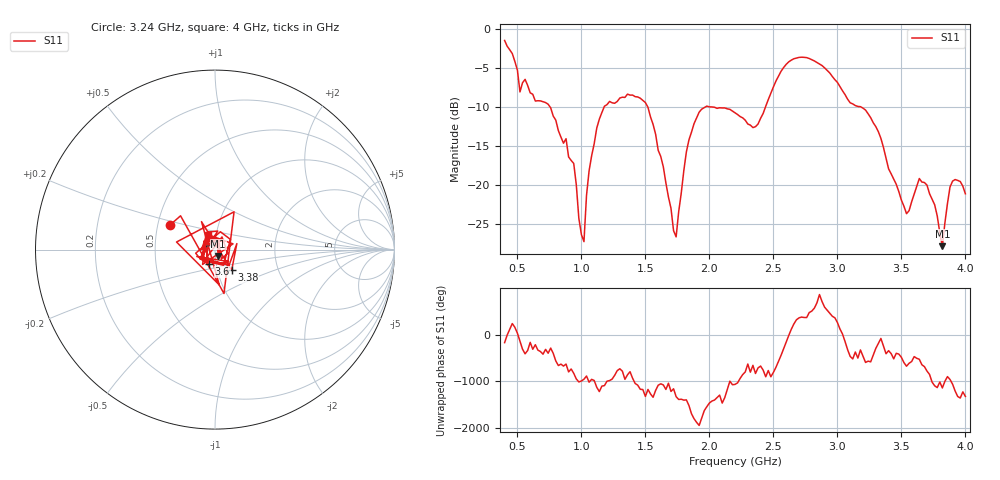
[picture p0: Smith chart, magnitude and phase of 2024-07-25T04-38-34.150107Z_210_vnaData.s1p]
!Created with skrf (http://scikit-rf.org).
# Hz S RI R 50.0
!freq ReS11 ImS11
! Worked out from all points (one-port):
!   181 points, 400 MHz to 4 GHz, reference 50 ohm
!   lowest |S11| = -27.9 dB at 3.82 GHz (marker M1), VSWR 1.08, Z = 51.7 - j3.72 ohm
!   |S11| at or under -10 dB: 1.517 GHz to 1.972 GHz (454.7 MHz wide, 26.1 % of centre); 1.996 GHz to 2.439 GHz (442.6 MHz wide, 20 % of centre); 3.181 GHz to end of sweep (the widest 3 of 4)
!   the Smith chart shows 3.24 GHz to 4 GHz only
!   S11 on the Smith chart (normalised r, x): 3.24 GHz: 0.58, +0.18; 3.38 GHz: 1.17, -0.27; 3.6 GHz: 0.92, -0.15; 4 GHz: 0.92, +0.15
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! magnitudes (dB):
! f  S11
! 400 MHz  -1.5
! 520 MHz  -8.1
! 740 MHz  -9.7
! 860 MHz  -14.7
! 940 MHz  -17.3
! 980 MHz  -24.3
! 1.02 GHz  -27.3
! 1.06 GHz  -18.2
! 1.12 GHz  -12.7
! 1.3 GHz  -8.9
! 1.52 GHz  -10.1
! 1.72 GHz  -25.9
! 1.74 GHz  -26.7
! 1.76 GHz  -23.5
! 1.82 GHz  -15.8
! 1.92 GHz  -10.7
! 2.2 GHz  -10.8
! 2.36 GHz  -12.6
! 2.66 GHz  -3.8
! 3.1 GHz  -9.5
! 3.24 GHz  -10.9
! 3.38 GHz  -16.6
! 3.56 GHz  -23.3
! 3.6 GHz  -21.2
! 3.7 GHz  -20.1
! 3.82 GHz  -27.9
! 3.9 GHz  -19.6
! 4 GHz  -21.2
